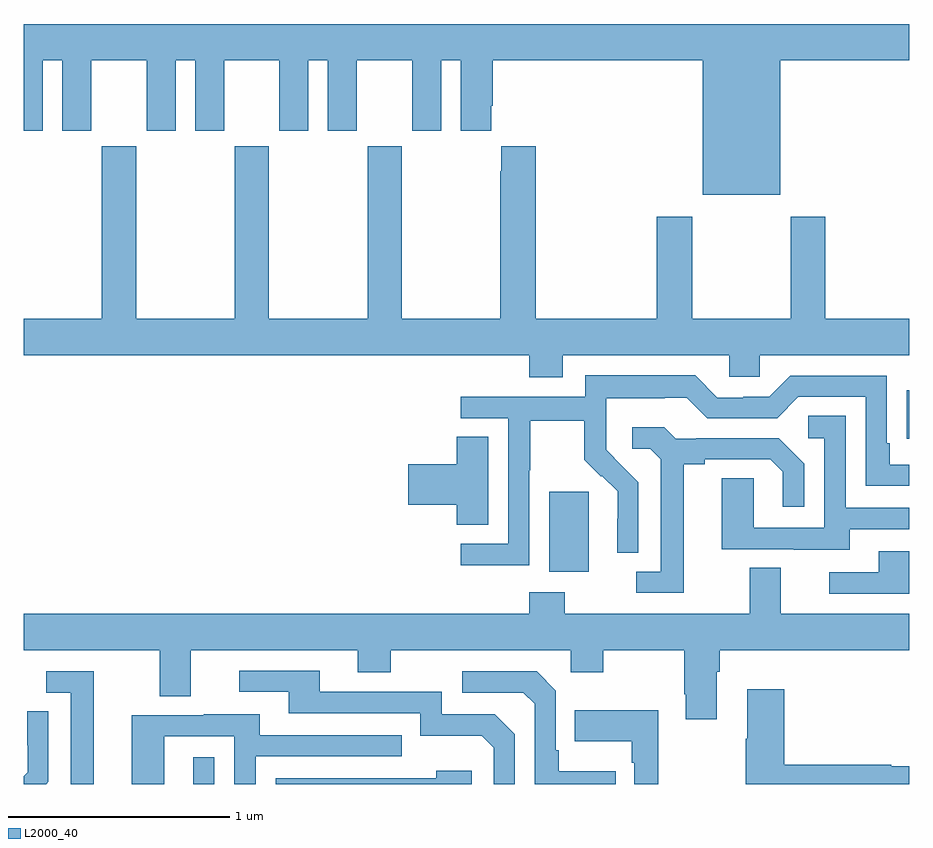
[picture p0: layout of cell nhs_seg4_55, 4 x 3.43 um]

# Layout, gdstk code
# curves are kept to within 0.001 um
import gdstk
lib = gdstk.Library(unit=1e-6, precision=1e-09)
def R(c, l, rs):  # rectangles x0, y0, x1, y1
    for r in rs: c.add(gdstk.rectangle(r[:2], r[2:], *l))
def P(c, l, *ps):  # polygons
    for p in ps: c.add(gdstk.Polygon(p, *l))
L2000_40 = (2000, 40)

nhs_seg4_55 = lib.new_cell('nhs_seg4_55')
R(nhs_seg4_55, L2000_40, [(113.765,778.9,113.862,779.02), (115.373,779.858,115.552,780.219), (116.989,780.46,117,780.679)])
P(nhs_seg4_55, L2000_40, [(116.416,782.168),(117,782.168),(117,782.332),(113,782.332),(113,781.851),(113.086,781.851),(113.086,782.168),(113.174,782.168),(113.174,781.851),(113.305,781.851),(113.305,782.168),(113.555,782.168),(113.555,781.851),(113.686,781.851),(113.686,782.168),(113.774,782.168),(113.774,781.851),(113.905,781.851),(113.905,782.168),(114.155,782.168),(114.155,781.851),(114.286,781.851),(114.286,782.168),(114.374,782.168),(114.374,781.851),(114.505,781.851),(114.505,782.168),(114.755,782.168),(114.755,781.851),(114.886,781.851),(114.886,782.168),(114.974,782.168),(114.974,781.851),(115.111,781.851),(115.111,781.963),(115.118,781.963),(115.118,782.168),(116.066,782.168),(116.066,781.562),(116.416,781.562)],
  [(115.435,780.836),(116.187,780.836),(116.187,780.738),(116.325,780.738),(116.325,780.836),(117,780.836),(117,781),(116.619,781),(116.619,781.462),(116.464,781.462),(116.464,781),(116.019,781),(116.019,781.462),(115.859,781.462),(115.859,781),(115.313,781),(115.313,781.78),(115.157,781.78),(115.157,781.667),(115.153,781.667),(115.153,781),(114.708,781),(114.708,781.78),(114.553,781.78),(114.553,781),(114.108,781),(114.108,781.78),(113.953,781.78),(113.953,781),(113.508,781),(113.508,781.78),(113.353,781.78),(113.353,781),(113,781),(113,780.836),(115.283,780.836),(115.283,780.737),(115.435,780.737)],
  [(115.284,780.316),(115.287,780.316),(115.287,780.54),(115.531,780.54),(115.531,780.365),(115.608,780.288),(115.611,780.291),(115.682,780.221),(115.682,780.098),(115.68,780.098),(115.68,779.944),(115.776,779.944),(115.776,780.262),(115.63,780.41),(115.63,780.507),(115.632,780.507),(115.632,780.641),(115.895,780.641),(115.895,780.645),(115.995,780.645),(116.088,780.552),(116.403,780.552),(116.499,780.648),(116.802,780.648),(116.802,780.246),(117,780.246),(117,780.342),(116.911,780.342),(116.911,780.439),(116.898,780.439),(116.898,780.744),(116.463,780.744),(116.367,780.648),(116.249,780.648),(116.249,780.645),(116.133,780.645),(116.033,780.745),(115.536,780.745),(115.536,780.648),(114.975,780.648),(114.975,780.552),(115.188,780.552),(115.188,779.985),(114.975,779.985),(114.975,779.887),(115.284,779.887)],
  [(116.731,780.051),(117,780.051),(117,780.147),(116.712,780.147),(116.712,780.563),(116.544,780.563),(116.544,780.462),(116.616,780.462),(116.616,780.057),(116.298,780.057),(116.298,780.281),(116.153,780.281),(116.153,779.961),(116.477,779.961),(116.477,779.957),(116.731,779.957)],
  [(115.981,780.344),(116.077,780.344),(116.077,780.366),(116.372,780.366),(116.429,780.309),(116.429,780.153),(116.526,780.153),(116.526,780.346),(116.41,780.462),(116.038,780.462),(116.038,780.459),(115.944,780.459),(115.892,780.511),(115.749,780.511),(115.749,780.414),(115.83,780.414),(115.877,780.367),(115.877,779.859),(115.767,779.859),(115.767,779.763),(115.981,779.763)],
  [(115.099,780.467),(114.956,780.467),(114.956,780.344),(114.738,780.344),(114.738,780.161),(114.956,780.161),(114.956,780.07),(115.099,780.07)],
  [(117,779.952),(116.861,779.952),(116.861,779.856),(116.637,779.856),(116.637,779.76),(117,779.76)],
  [(116.131,779.408),(116.144,779.408),(116.144,779.504),(117,779.504),(117,779.668),(116.419,779.668),(116.419,779.876),(116.279,779.876),(116.279,779.668),(115.443,779.668),(115.443,779.767),(115.283,779.767),(115.283,779.668),(113,779.668),(113,779.504),(113.615,779.504),(113.615,779.296),(113.755,779.296),(113.755,779.504),(114.509,779.504),(114.509,779.405),(114.657,779.405),(114.657,779.504),(115.47,779.504),(115.47,779.405),(115.617,779.405),(115.617,779.504),(115.984,779.504),(115.984,779.305),(115.991,779.305),(115.991,779.193),(116.131,779.193)],
  [(115.218,779.124),(115.128,779.214),(114.888,779.214),(114.888,779.316),(114.337,779.316),(114.337,779.412),(113.973,779.412),(113.973,779.316),(114.197,779.316),(114.197,779.22),(114.792,779.22),(114.792,779.117),(115.069,779.117),(115.122,779.064),(115.122,778.9),(115.218,778.9)],
  [(113.317,779.409),(113.103,779.409),(113.103,779.313),(113.213,779.313),(113.213,778.9),(113.317,778.9)],
  [(115.673,778.957),(115.417,778.957),(115.417,779.053),(115.404,779.053),(115.404,779.322),(115.317,779.409),(114.981,779.409),(114.981,779.313),(115.257,779.313),(115.308,779.262),(115.308,778.9),(115.673,778.9)],
  [(117,778.981),(116.918,778.981),(116.918,778.988),(116.435,778.988),(116.435,779.329),(116.267,779.329),(116.267,779.105),(116.26,779.105),(116.26,778.9),(117,778.9)],
  [(115.867,779.233),(115.489,779.233),(115.489,779.093),(115.746,779.093),(115.746,778.997),(115.758,778.997),(115.758,778.9),(115.867,778.9)],
  [(113.112,778.91),(113.112,779.228),(113.016,779.228),(113.016,779.074),(113.018,779.074),(113.018,778.952),(113,778.934),(113,778.9),(113.102,778.9)],
  [(113.634,779.115),(113.952,779.115),(113.952,778.9),(114.048,778.9),(114.048,779.025),(114.707,779.025),(114.707,779.121),(114.067,779.121),(114.067,779.215),(113.813,779.215),(113.813,779.211),(113.489,779.211),(113.489,778.9),(113.634,778.9)],
  [(115.024,778.96),(114.863,778.96),(114.863,778.926),(114.138,778.926),(114.138,778.9),(115.024,778.9)])

lib.write_gds('nhs_seg4_55.gds')
